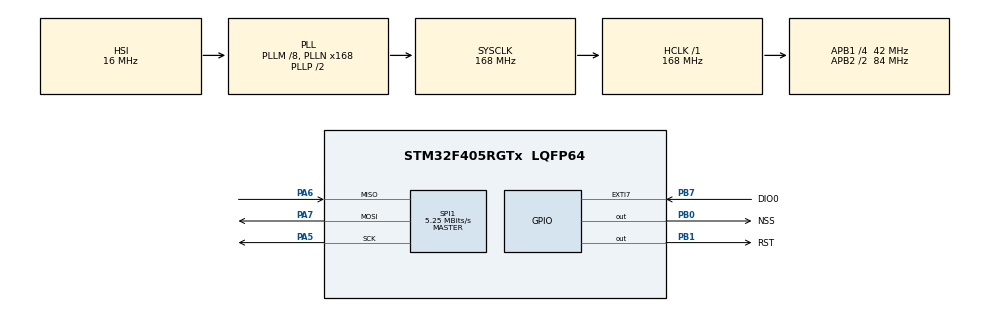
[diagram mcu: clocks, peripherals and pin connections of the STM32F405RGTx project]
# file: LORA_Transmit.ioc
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Mcu.Family=STM32F4
Mcu.Name=STM32F405RGTx
Mcu.Package=LQFP64
NVIC.EXTI9_5_IRQn=true\:0\:0\:false\:false\:true\:true\:true\:true
NVIC.PriorityGroup=NVIC_PRIORITYGROUP_4
PA13.Mode=Serial_Wire
PA13.Signal=SYS_JTMS-SWDIO
PA14.Mode=Serial_Wire
PA14.Signal=SYS_JTCK-SWCLK
PA5.Mode=Full_Duplex_Master
PA5.Signal=SPI1_SCK
PA6.Mode=Full_Duplex_Master
PA6.Signal=SPI1_MISO
PA7.Mode=Full_Duplex_Master
PA7.Signal=SPI1_MOSI
PB0.GPIO_Label=NSS
PB0.PinState=GPIO_PIN_SET
PB0.Signal=GPIO_Output
PB1.GPIO_Label=RST
PB1.PinState=GPIO_PIN_SET
PB1.Signal=GPIO_Output
PB7.GPIO_Label=DIO0
PB7.Signal=GPXTI7
PC14-OSC32_IN.Mode=LSE-External-Oscillator
PC14-OSC32_IN.Signal=RCC_OSC32_IN
PC15-OSC32_OUT.Mode=LSE-External-Oscillator
PC15-OSC32_OUT.Signal=RCC_OSC32_OUT
PH0-OSC_IN.Mode=HSE-External-Oscillator
PH0-OSC_IN.Signal=RCC_OSC_IN
PH1-OSC_OUT.Mode=HSE-External-Oscillator
PH1-OSC_OUT.Signal=RCC_OSC_OUT
ProjectManager.HeapSize=0x200
ProjectManager.StackSize=0x400
ProjectManager.TargetToolchain=STM32CubeIDE
RCC.48MHZClocksFreq_Value=84000000
RCC.AHBFreq_Value=168000000
RCC.APB1CLKDivider=RCC_HCLK_DIV4
RCC.APB1Freq_Value=42000000
RCC.APB1TimFreq_Value=84000000
RCC.APB2CLKDivider=RCC_HCLK_DIV2
RCC.APB2Freq_Value=84000000
RCC.APB2TimFreq_Value=168000000
RCC.CortexFreq_Value=168000000
RCC.HCLKFreq_Value=168000000
RCC.HSE_VALUE=25000000
RCC.HSI_VALUE=16000000
RCC.PLLM=8
RCC.PLLN=168
RCC.SYSCLKFreq_VALUE=168000000
RCC.SYSCLKSource=RCC_SYSCLKSOURCE_PLLCLK
RCC.VCOOutputFreq_Value=336000000
SPI1.BaudRatePrescaler=SPI_BAUDRATEPRESCALER_16
SPI1.CalculateBaudRate=5.25 MBits/s
SPI1.Direction=SPI_DIRECTION_2LINES
SPI1.Mode=SPI_MODE_MASTER
SPI1.VirtualType=VM_MASTER
board=custom

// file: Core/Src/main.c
/* USER CODE BEGIN Header */
/**
  ******************************************************************************
  * @file           : main.c
  * @brief          : Main program body
  ******************************************************************************
  * @attention
  *
  * Copyright (c) 2023 STMicroelectronics.
  * All rights reserved.
  *
  * This software is licensed under terms that can be found in the LICENSE file
  * in the root directory of this software component.
  * If no LICENSE file comes with this software, it is provided AS-IS.
  *
  ******************************************************************************
  */
/* USER CODE END Header */
#include "main.h"

/* USER CODE BEGIN Includes */
#include "LoRa.h"
/* USER CODE END Includes */

SPI_HandleTypeDef hspi1;

/* USER CODE BEGIN PV */
LoRa myLoRa;
uint8_t LoRa_stat=0;
uint8_t RxBuffer[15];

/* USER CODE END PV */

void SystemClock_Config(void);
static void MX_GPIO_Init(void);
static void MX_SPI1_Init(void);

/* USER CODE BEGIN 0 */
uint8_t status=0;
/* USER CODE END 0 */

int main(void)
{

  /* MCU Configuration--------------------------------------------------------*/

  /* Reset of all peripherals, Initializes the Flash interface and the Systick. */
  HAL_Init();

  /* Configure the system clock */
  SystemClock_Config();

  /* Initialize all configured peripherals */
  MX_GPIO_Init();
  MX_SPI1_Init();
  /* USER CODE BEGIN 2 */
  myLoRa = newLoRa();

   myLoRa.CS_port         = NSS_GPIO_Port;
   myLoRa.CS_pin          = NSS_Pin;
   myLoRa.reset_port      = RST_GPIO_Port;
   myLoRa.reset_pin       = RST_Pin;
   myLoRa.DIO0_port       = DIO0_GPIO_Port;
   myLoRa.DIO0_pin        = DIO0_Pin;
   myLoRa.hSPIx           = &hspi1;

   myLoRa.frequency             = 433;             // default = 433 MHz
   myLoRa.spredingFactor        = SF_7;            // default = SF_7
   myLoRa.bandWidth             = BW_31_25KHz;       // default = BW_125KHz
   myLoRa.crcRate               = CR_4_5;          // default = CR_4_5
   myLoRa.power                 = POWER_20db;      // default = 20db
   myLoRa.overCurrentProtection = 130;             // default = 100 mA
   myLoRa.preamble              = 9;              // default = 8;

   if(LoRa_init(&myLoRa) == LORA_OK){
 	  LoRa_stat=1;
   }
   uint8_t TxBuffer[15];
		TxBuffer[0] = 'I';
		TxBuffer[1] = 'A';
		TxBuffer[2] = 'M';
		TxBuffer[3] = 'C';
		TxBuffer[4] = 'A';
		TxBuffer[5] = 'T';
		TxBuffer[6] = 'P';
		TxBuffer[7] = 'R';
		TxBuffer[8] = 'O';
		TxBuffer[9] = 'F';
		TxBuffer[10] = 'I';
		TxBuffer[11] = 'L';
		TxBuffer[12] = 'E';
		TxBuffer[13] = '\0';

//   LoRa_startReceiving(&myLoRa);

  /* USER CODE END 2 */

  /* Infinite loop */
  /* USER CODE BEGIN WHILE */
  while (1)
  {
	  status=LoRa_transmit(&myLoRa, TxBuffer, 14, 500);
	  HAL_Delay(500);

    /* USER CODE END WHILE */

  }
}

void SystemClock_Config(void)
{
  RCC_OscInitTypeDef RCC_OscInitStruct = {0};
  RCC_ClkInitTypeDef RCC_ClkInitStruct = {0};

  /** Configure the main internal regulator output voltage
  */
  __HAL_RCC_PWR_CLK_ENABLE();
  __HAL_PWR_VOLTAGESCALING_CONFIG(PWR_REGULATOR_VOLTAGE_SCALE1);

  /** Initializes the RCC Oscillators according to the specified parameters
  * in the RCC_OscInitTypeDef structure.
  */
  RCC_OscInitStruct.OscillatorType = RCC_OSCILLATORTYPE_HSI;
  RCC_OscInitStruct.HSIState = RCC_HSI_ON;
  RCC_OscInitStruct.HSICalibrationValue = RCC_HSICALIBRATION_DEFAULT;
  RCC_OscInitStruct.PLL.PLLState = RCC_PLL_ON;
  RCC_OscInitStruct.PLL.PLLSource = RCC_PLLSOURCE_HSI;
  RCC_OscInitStruct.PLL.PLLM = 8;
  RCC_OscInitStruct.PLL.PLLN = 168;
  RCC_OscInitStruct.PLL.PLLP = RCC_PLLP_DIV2;
  RCC_OscInitStruct.PLL.PLLQ = 4;
  if (HAL_RCC_OscConfig(&RCC_OscInitStruct) != HAL_OK)
  {
    Error_Handler();
  }

  /** Initializes the CPU, AHB and APB buses clocks
  */
  RCC_ClkInitStruct.ClockType = RCC_CLOCKTYPE_HCLK|RCC_CLOCKTYPE_SYSCLK
                              |RCC_CLOCKTYPE_PCLK1|RCC_CLOCKTYPE_PCLK2;
  RCC_ClkInitStruct.SYSCLKSource = RCC_SYSCLKSOURCE_PLLCLK;
  RCC_ClkInitStruct.AHBCLKDivider = RCC_SYSCLK_DIV1;
  RCC_ClkInitStruct.APB1CLKDivider = RCC_HCLK_DIV4;
  RCC_ClkInitStruct.APB2CLKDivider = RCC_HCLK_DIV2;

  if (HAL_RCC_ClockConfig(&RCC_ClkInitStruct, FLASH_LATENCY_5) != HAL_OK)
  {
    Error_Handler();
  }
}

static void MX_SPI1_Init(void)
{

  /* SPI1 parameter configuration*/
  hspi1.Instance = SPI1;
  hspi1.Init.Mode = SPI_MODE_MASTER;
  hspi1.Init.Direction = SPI_DIRECTION_2LINES;
  hspi1.Init.DataSize = SPI_DATASIZE_8BIT;
  hspi1.Init.CLKPolarity = SPI_POLARITY_LOW;
  hspi1.Init.CLKPhase = SPI_PHASE_1EDGE;
  hspi1.Init.NSS = SPI_NSS_SOFT;
  hspi1.Init.BaudRatePrescaler = SPI_BAUDRATEPRESCALER_16;
  hspi1.Init.FirstBit = SPI_FIRSTBIT_MSB;
  hspi1.Init.TIMode = SPI_TIMODE_DISABLE;
  hspi1.Init.CRCCalculation = SPI_CRCCALCULATION_DISABLE;
  hspi1.Init.CRCPolynomial = 10;
  if (HAL_SPI_Init(&hspi1) != HAL_OK)
  {
    Error_Handler();
  }

}

static void MX_GPIO_Init(void)
{
  GPIO_InitTypeDef GPIO_InitStruct = {0};

  /* GPIO Ports Clock Enable */
  __HAL_RCC_GPIOC_CLK_ENABLE();
  __HAL_RCC_GPIOH_CLK_ENABLE();
  __HAL_RCC_GPIOA_CLK_ENABLE();
  __HAL_RCC_GPIOB_CLK_ENABLE();

  /*Configure GPIO pin Output Level */
  HAL_GPIO_WritePin(GPIOB, NSS_Pin|RST_Pin, GPIO_PIN_SET);

  /*Configure GPIO pins : NSS_Pin RST_Pin */
  GPIO_InitStruct.Pin = NSS_Pin|RST_Pin;
  GPIO_InitStruct.Mode = GPIO_MODE_OUTPUT_PP;
  GPIO_InitStruct.Pull = GPIO_NOPULL;
  GPIO_InitStruct.Speed = GPIO_SPEED_FREQ_LOW;
  HAL_GPIO_Init(GPIOB, &GPIO_InitStruct);

  /*Configure GPIO pin : DIO0_Pin */
  GPIO_InitStruct.Pin = DIO0_Pin;
  GPIO_InitStruct.Mode = GPIO_MODE_IT_RISING;
  GPIO_InitStruct.Pull = GPIO_NOPULL;
  HAL_GPIO_Init(DIO0_GPIO_Port, &GPIO_InitStruct);

  /* EXTI interrupt init*/
  HAL_NVIC_SetPriority(EXTI9_5_IRQn, 0, 0);
  HAL_NVIC_EnableIRQ(EXTI9_5_IRQn);

}

/* USER CODE BEGIN 4 */
/*void HAL_GPIO_EXTI_Callback(uint16_t GPIO_Pin){
	if(GPIO_Pin==DIO0_Pin){
		LoRa_receive(&myLoRa, RxBuffer, 128);
	}
}*/
/* USER CODE END 4 */

void Error_Handler(void)
{
  __disable_irq();
  while (1)
  {
  }
}
